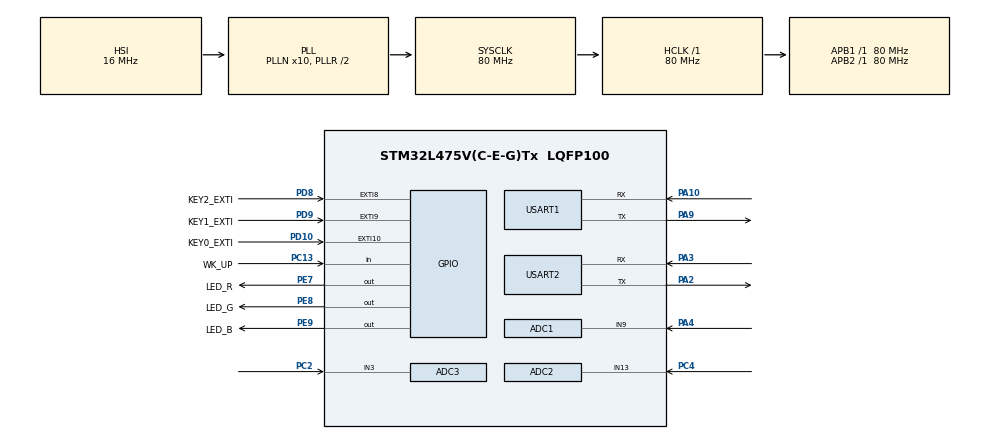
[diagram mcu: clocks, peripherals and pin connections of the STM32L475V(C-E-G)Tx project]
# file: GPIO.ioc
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ADC1.Channel-0\#ChannelRegularConversion=ADC_CHANNEL_9
ADC1.Channel-39\#ChannelRegularConversion=ADC_CHANNEL_9
ADC1.ClockPrescaler=ADC_CLOCK_ASYNC_DIV1
ADC1.ContinuousConvMode=DISABLE
ADC1.DMAContinuousRequests=DISABLE
ADC1.DataAlign=ADC_DATAALIGN_RIGHT
ADC1.DiscontinuousConvMode=DISABLE
ADC1.EOCSelection=ADC_EOC_SINGLE_CONV
ADC1.EnableAnalogWatchDog1=false
ADC1.EnableAnalogWatchDog2=false
ADC1.EnableAnalogWatchDog3=false
ADC1.EnableInjectedConversion=DISABLE
ADC1.EnableRegularConversion=ENABLE
ADC1.ExternalTrigConv=ADC_SOFTWARE_START
ADC1.ExternalTrigConvEdge=ADC_EXTERNALTRIGCONVEDGE_NONE
ADC1.LowPowerAutoWait=DISABLE
ADC1.NbrOfConversion=1
ADC1.NbrOfConversionFlag=1
ADC1.OffsetNumber-0\#ChannelRegularConversion=ADC_OFFSET_NONE
ADC1.OffsetNumber-39\#ChannelRegularConversion=ADC_OFFSET_NONE
ADC1.Overrun=ADC_OVR_DATA_PRESERVED
ADC1.OversamplingMode=DISABLE
ADC1.Rank-0\#ChannelRegularConversion=1
ADC1.Rank-39\#ChannelRegularConversion=1
ADC1.Resolution=ADC_RESOLUTION_12B
ADC1.SamplingTime-0\#ChannelRegularConversion=ADC_SAMPLETIME_2CYCLES_5
ADC1.SamplingTime-39\#ChannelRegularConversion=ADC_SAMPLETIME_2CYCLES_5
ADC1.ScanConvMode=ADC_SCAN_DISABLE
ADC1.master=1
ADC2.Channel-41\#ChannelRegularConversion=ADC_CHANNEL_13
ADC2.ClockPrescaler=ADC_CLOCK_ASYNC_DIV1
ADC2.ContinuousConvMode=DISABLE
ADC2.DMAContinuousRequests=DISABLE
ADC2.DataAlign=ADC_DATAALIGN_RIGHT
ADC2.DiscontinuousConvMode=DISABLE
ADC2.EOCSelection=ADC_EOC_SINGLE_CONV
ADC2.EnableAnalogWatchDog1=false
ADC2.EnableAnalogWatchDog2=false
ADC2.EnableAnalogWatchDog3=false
ADC2.EnableInjectedConversion=DISABLE
ADC2.EnableRegularConversion=ENABLE
ADC2.ExternalTrigConv=ADC_SOFTWARE_START
ADC2.ExternalTrigConvEdge=ADC_EXTERNALTRIGCONVEDGE_NONE
ADC2.LowPowerAutoWait=DISABLE
ADC2.NbrOfConversion=1
ADC2.NbrOfConversionFlag=1
ADC2.OffsetNumber-41\#ChannelRegularConversion=ADC_OFFSET_NONE
ADC2.Overrun=ADC_OVR_DATA_PRESERVED
ADC2.OversamplingMode=DISABLE
ADC2.Rank-41\#ChannelRegularConversion=1
ADC2.Resolution=ADC_RESOLUTION_12B
ADC2.SamplingTime-41\#ChannelRegularConversion=ADC_SAMPLETIME_2CYCLES_5
ADC2.ScanConvMode=ADC_SCAN_DISABLE
ADC3.Channel-42\#ChannelRegularConversion=ADC_CHANNEL_3
ADC3.ClockPrescaler=ADC_CLOCK_ASYNC_DIV1
ADC3.ContinuousConvMode=DISABLE
ADC3.DMAContinuousRequests=DISABLE
ADC3.DataAlign=ADC_DATAALIGN_RIGHT
ADC3.DiscontinuousConvMode=DISABLE
ADC3.EOCSelection=ADC_EOC_SINGLE_CONV
ADC3.EnableAnalogWatchDog1=false
ADC3.EnableAnalogWatchDog2=false
ADC3.EnableAnalogWatchDog3=false
ADC3.EnableInjectedConversion=DISABLE
ADC3.EnableRegularConversion=ENABLE
ADC3.ExternalTrigConv=ADC_SOFTWARE_START
ADC3.ExternalTrigConvEdge=ADC_EXTERNALTRIGCONVEDGE_NONE
ADC3.LowPowerAutoWait=DISABLE
ADC3.NbrOfConversion=1
ADC3.NbrOfConversionFlag=1
ADC3.OffsetNumber-42\#ChannelRegularConversion=ADC_OFFSET_NONE
ADC3.Overrun=ADC_OVR_DATA_PRESERVED
ADC3.OversamplingMode=DISABLE
ADC3.Rank-42\#ChannelRegularConversion=1
ADC3.Resolution=ADC_RESOLUTION_12B
ADC3.SamplingTime-42\#ChannelRegularConversion=ADC_SAMPLETIME_2CYCLES_5
ADC3.ScanConvMode=ADC_SCAN_DISABLE
Dma.Request0=USART1_RX
Dma.USART1_RX.0.Direction=DMA_PERIPH_TO_MEMORY
Dma.USART1_RX.0.Instance=DMA1_Channel5
Dma.USART1_RX.0.MemDataAlignment=DMA_MDATAALIGN_BYTE
Dma.USART1_RX.0.MemInc=DMA_MINC_ENABLE
Dma.USART1_RX.0.Mode=DMA_NORMAL
Dma.USART1_RX.0.PeriphDataAlignment=DMA_PDATAALIGN_BYTE
Dma.USART1_RX.0.PeriphInc=DMA_PINC_DISABLE
Dma.USART1_RX.0.Priority=DMA_PRIORITY_LOW
IWDG.Reload=4000
Mcu.Family=STM32L4
Mcu.Name=STM32L475V(C-E-G)Tx
Mcu.Package=LQFP100
NVIC.DMA1_Channel5_IRQn=true\:0\:0\:false\:false\:true\:false
NVIC.EXTI15_10_IRQn=true\:3\:0\:true\:false\:true\:true
NVIC.EXTI9_5_IRQn=true\:3\:0\:true\:false\:true\:true
NVIC.PriorityGroup=NVIC_PRIORITYGROUP_4
NVIC.USART1_IRQn=true\:2\:0\:true\:false\:true\:true
NVIC.USART2_IRQn=true\:1\:0\:true\:false\:true\:true
PA10.Mode=Asynchronous
PA10.Signal=USART1_RX
PA2.Mode=Asynchronous
PA2.Signal=USART2_TX
PA3.Mode=Asynchronous
PA3.Signal=USART2_RX
PA4.Signal=ADCx_IN9
PA9.Mode=Asynchronous
PA9.Signal=USART1_TX
PC13.GPIO_Label=WK_UP
PC13.Signal=GPIO_Input
PC2.Signal=ADCx_IN3
PC4.Signal=ADCx_IN13
PD10.GPIO_Label=KEY0_EXTI
PD10.Signal=GPXTI10
PD8.GPIO_Label=KEY2_EXTI
PD8.Signal=GPXTI8
PD9.GPIO_Label=KEY1_EXTI
PD9.Signal=GPXTI9
PE7.GPIO_Label=LED_R
PE7.Signal=GPIO_Output
PE8.GPIO_Label=LED_G
PE8.Signal=GPIO_Output
PE9.GPIO_Label=LED_B
PE9.Signal=GPIO_Output
PH0-OSC_IN\ (PH0).Mode=HSE-External-Oscillator
PH0-OSC_IN\ (PH0).Signal=RCC_OSC_IN
PH1-OSC_OUT\ (PH1).Mode=HSE-External-Oscillator
PH1-OSC_OUT\ (PH1).Signal=RCC_OSC_OUT
ProjectManager.HeapSize=0x200
ProjectManager.StackSize=0x400
ProjectManager.TargetToolchain=MDK-ARM V5
RCC.ADCCLockSelection=RCC_ADCCLKSOURCE_SYSCLK
RCC.ADCFreq_Value=80000000
RCC.AHBFreq_Value=80000000
RCC.APB1Freq_Value=80000000
RCC.APB1TimFreq_Value=80000000
RCC.APB2Freq_Value=80000000
RCC.APB2TimFreq_Value=80000000
RCC.CortexFreq_Value=80000000
RCC.HCLKFreq_Value=80000000
RCC.HSE_VALUE=8000000
RCC.HSI_VALUE=16000000
RCC.LSE_VALUE=32768
RCC.MSI_VALUE=4000000
RCC.PLLN=10
RCC.PLLSourceVirtual=RCC_PLLSOURCE_HSI
RCC.SYSCLKFreq_VALUE=80000000
RCC.SYSCLKSource=RCC_SYSCLKSOURCE_PLLCLK
RCC.USBFreq_Value=64000000
RCC.VCOOutputFreq_Value=160000000
SH.ADCx_IN13.0=ADC2_IN13,IN13-Single-Ended
SH.ADCx_IN3.0=ADC3_IN3,IN3-Single-Ended
SH.ADCx_IN9.0=ADC1_IN9,IN9-Single-Ended
USART1.VirtualMode-Asynchronous=VM_ASYNC
USART1.WordLength=WORDLENGTH_8B
USART2.DMADisableonRxErrorParam=ADVFEATURE_DMA_ENABLEONRXERROR
USART2.OverrunDisableParam=ADVFEATURE_OVERRUN_ENABLE
USART2.VirtualMode-Asynchronous=VM_ASYNC
USART2.WordLength=WORDLENGTH_8B
VP_IWDG_VS_IWDG.Mode=IWDG_Activate
VP_RTC_VS_RTC_Activate.Mode=RTC_Enabled
VP_RTC_VS_RTC_Calendar.Mode=RTC_Calendar
board=GPIO

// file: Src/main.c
/**
  ******************************************************************************
  * @file           : main.c
  * @brief          : Main program body
  ******************************************************************************
  ** This notice applies to any and all portions of this file
  * that are not between comment pairs USER CODE BEGIN and
  * USER CODE END. Other portions of this file, whether
  * inserted by the user or by software development tools
  * are owned by their respective copyright owners.
  *
  * COPYRIGHT(c) 2021 STMicroelectronics
  *
  * Redistribution and use in source and binary forms, with or without modification,
  * are permitted provided that the following conditions are met:
  *   1. Redistributions of source code must retain the above copyright notice,
  *      this list of conditions and the following disclaimer.
  *   2. Redistributions in binary form must reproduce the above copyright notice,
  *      this list of conditions and the following disclaimer in the documentation
  *      and/or other materials provided with the distribution.
  *   3. Neither the name of STMicroelectronics nor the names of its contributors
  *      may be used to endorse or promote products derived from this software
  *      without specific prior written permission.
  *
  * THIS SOFTWARE IS PROVIDED BY THE COPYRIGHT HOLDERS AND CONTRIBUTORS "AS IS"
  * AND ANY EXPRESS OR IMPLIED WARRANTIES, INCLUDING, BUT NOT LIMITED TO, THE
  * IMPLIED WARRANTIES OF MERCHANTABILITY AND FITNESS FOR A PARTICULAR PURPOSE ARE
  * DISCLAIMED. IN NO EVENT SHALL THE COPYRIGHT HOLDER OR CONTRIBUTORS BE LIABLE
  * FOR ANY DIRECT, INDIRECT, INCIDENTAL, SPECIAL, EXEMPLARY, OR CONSEQUENTIAL
  * DAMAGES (INCLUDING, BUT NOT LIMITED TO, PROCUREMENT OF SUBSTITUTE GOODS OR
  * SERVICES; LOSS OF USE, DATA, OR PROFITS; OR BUSINESS INTERRUPTION) HOWEVER
  * CAUSED AND ON ANY THEORY OF LIABILITY, WHETHER IN CONTRACT, STRICT LIABILITY,
  * OR TORT (INCLUDING NEGLIGENCE OR OTHERWISE) ARISING IN ANY WAY OUT OF THE USE
  * OF THIS SOFTWARE, EVEN IF ADVISED OF THE POSSIBILITY OF SUCH DAMAGE.
  *
  ******************************************************************************
  */
#include "main.h"
#include "stm32l4xx_hal.h"

/* USER CODE BEGIN Includes */
#include <stdio.h>
#include "Uart.h"
/* USER CODE END Includes */

ADC_HandleTypeDef hadc1;
ADC_HandleTypeDef hadc2;
ADC_HandleTypeDef hadc3;

IWDG_HandleTypeDef hiwdg;

RTC_HandleTypeDef hrtc;

UART_HandleTypeDef huart1;
UART_HandleTypeDef huart2;
DMA_HandleTypeDef hdma_usart1_rx;

/* USER CODE BEGIN PV */
/* Private variables ---------------------------------------------------------*/
unsigned char RX1_Buf[1024];
unsigned char RX2_Buf[1024];
unsigned char TestRxBuf[1024];
extern uint8_t USART1RECV[MAX_RCV_LEN];
extern uint8_t Buftemp;
extern uint16_t data_length;
/* USER CODE END PV */

void SystemClock_Config(void);
static void MX_GPIO_Init(void);
static void MX_DMA_Init(void);
static void MX_IWDG_Init(void);
static void MX_RTC_Init(void);
static void MX_ADC1_Init(void);
static void MX_ADC2_Init(void);
static void MX_ADC3_Init(void);

/* USER CODE BEGIN PFP */
/* Private function prototypes -----------------------------------------------*/
HAL_StatusTypeDef HAL_InitTick(uint32_t TickPriority);
void GPIOHandle(void);	//GIPO Input Output EXTI
void UARTHandle(void);	//UART TX RX DMA EXTI
void IWDTHandle(void);	//RCC IWDT systick
void SPIHandle(void);		//SPI SQFLASH
/* USER CODE END PFP */

/* USER CODE BEGIN 0 */
//UART1输出重定向 printf
#ifdef __GNUC__
#define PUTCHAR_PROTOTYPE int __io_putchar(int ch)
#else
#define PUTCHAR_PROTOTYPE int fputc(int ch, FILE *f)
#endif
PUTCHAR_PROTOTYPE
{
    //具体哪个串口可以更改huart1为其它串口
    HAL_UART_Transmit(&huart1 , (uint8_t *)&ch, 1 , 0xffff);
    return ch;
}
/* USER CODE END 0 */

int main(void)
{
  /* USER CODE BEGIN 1 */
	unsigned char TXBuf[100];
	int i;
	unsigned char data[MAX_RCV_LEN];
  /* USER CODE END 1 */

  /* MCU Configuration----------------------------------------------------------*/

  /* Reset of all peripherals, Initializes the Flash interface and the Systick. */
  HAL_Init();

  /* Configure the system clock */
  SystemClock_Config();

  /* Initialize all configured peripherals */
  MX_GPIO_Init();
  MX_DMA_Init();
  MX_USART2_UART_Init();
  MX_USART1_UART_Init();
  //MX_IWDG_Init();
  MX_RTC_Init();
  MX_ADC1_Init();
  MX_ADC2_Init();
  MX_ADC3_Init();
  /* USER CODE BEGIN 2 */
	//LED低电平亮 高电平灭
	LED_B_ON;
	LED_G_ON;
	LED_R_ON;
	for(i = 0;i<100;i++)
	{
		TXBuf[i] = 0x00;
		printf("%X",TXBuf[i]);
	}
	printf("\r\n");
	HAL_UART_Transmit(&huart2,"LD2001",6,1);
	HAL_UART_Transmit(&huart2,(unsigned char*)TXBuf,100,1);
  /* USER CODE END 2 */

  /* Infinite loop */
  while (1)
  {

  /* USER CODE BEGIN 3 */
		if(data_length>1)//数据接收完成
		{
			HAL_UART_Transmit(&huart2,RX1_Buf,data_length,0x200);
			data_length = 0;
			USART_Clear(&huart2);
		}
		//HAL_Delay(500);//500ms
		HAL_IWDG_Refresh(&hiwdg);
		GPIOHandle();
		/*
//		HAL_Delay(1000);
//		GetRcvData(&huart1 ,data, sizeof(data));
//		if(strlen(data))
//		{
//			printf("recv: %s \n",data);
//			//HAL_Delay(1000);
//		}
		*/
  }
  /* USER CODE END 3 */

}

void SystemClock_Config(void)
{

  RCC_OscInitTypeDef RCC_OscInitStruct;
  RCC_ClkInitTypeDef RCC_ClkInitStruct;
  RCC_PeriphCLKInitTypeDef PeriphClkInit;

    /**Initializes the CPU, AHB and APB busses clocks
    */
  RCC_OscInitStruct.OscillatorType = RCC_OSCILLATORTYPE_HSI|RCC_OSCILLATORTYPE_LSI;
  RCC_OscInitStruct.HSIState = RCC_HSI_ON;
  RCC_OscInitStruct.HSICalibrationValue = 16;
  RCC_OscInitStruct.LSIState = RCC_LSI_ON;
  RCC_OscInitStruct.PLL.PLLState = RCC_PLL_ON;
  RCC_OscInitStruct.PLL.PLLSource = RCC_PLLSOURCE_HSI;
  RCC_OscInitStruct.PLL.PLLN = 10;
  RCC_OscInitStruct.PLL.PLLP = RCC_PLLP_DIV7;
  RCC_OscInitStruct.PLL.PLLQ = RCC_PLLQ_DIV2;
  RCC_OscInitStruct.PLL.PLLR = RCC_PLLR_DIV2;
  if (HAL_RCC_OscConfig(&RCC_OscInitStruct) != HAL_OK)
  {
    _Error_Handler(__FILE__, __LINE__);
  }

    /**Initializes the CPU, AHB and APB busses clocks
    */
  RCC_ClkInitStruct.ClockType = RCC_CLOCKTYPE_HCLK|RCC_CLOCKTYPE_SYSCLK
                              |RCC_CLOCKTYPE_PCLK1|RCC_CLOCKTYPE_PCLK2;
  RCC_ClkInitStruct.SYSCLKSource = RCC_SYSCLKSOURCE_PLLCLK;
  RCC_ClkInitStruct.AHBCLKDivider = RCC_SYSCLK_DIV1;
  RCC_ClkInitStruct.APB1CLKDivider = RCC_HCLK_DIV1;
  RCC_ClkInitStruct.APB2CLKDivider = RCC_HCLK_DIV1;

  if (HAL_RCC_ClockConfig(&RCC_ClkInitStruct, FLASH_LATENCY_4) != HAL_OK)
  {
    _Error_Handler(__FILE__, __LINE__);
  }

  PeriphClkInit.PeriphClockSelection = RCC_PERIPHCLK_RTC|RCC_PERIPHCLK_USART1
                              |RCC_PERIPHCLK_USART2|RCC_PERIPHCLK_ADC;
  PeriphClkInit.Usart1ClockSelection = RCC_USART1CLKSOURCE_PCLK2;
  PeriphClkInit.Usart2ClockSelection = RCC_USART2CLKSOURCE_PCLK1;
  PeriphClkInit.AdcClockSelection = RCC_ADCCLKSOURCE_SYSCLK;
  PeriphClkInit.RTCClockSelection = RCC_RTCCLKSOURCE_LSI;
  if (HAL_RCCEx_PeriphCLKConfig(&PeriphClkInit) != HAL_OK)
  {
    _Error_Handler(__FILE__, __LINE__);
  }

    /**Configure the main internal regulator output voltage
    */
  if (HAL_PWREx_ControlVoltageScaling(PWR_REGULATOR_VOLTAGE_SCALE1) != HAL_OK)
  {
    _Error_Handler(__FILE__, __LINE__);
  }

    /**Configure the Systick interrupt time
    */
  HAL_SYSTICK_Config(HAL_RCC_GetHCLKFreq()/1000);

    /**Configure the Systick
    */
  HAL_SYSTICK_CLKSourceConfig(SYSTICK_CLKSOURCE_HCLK);

  /* SysTick_IRQn interrupt configuration */
  HAL_NVIC_SetPriority(SysTick_IRQn, 0, 0);
}

/* ADC1 init function */
static void MX_ADC1_Init(void)
{

  ADC_MultiModeTypeDef multimode;
  ADC_ChannelConfTypeDef sConfig;

    /**Common config
    */
  hadc1.Instance = ADC1;
  hadc1.Init.ClockPrescaler = ADC_CLOCK_ASYNC_DIV1;
  hadc1.Init.Resolution = ADC_RESOLUTION_12B;
  hadc1.Init.DataAlign = ADC_DATAALIGN_RIGHT;
  hadc1.Init.ScanConvMode = ADC_SCAN_DISABLE;
  hadc1.Init.EOCSelection = ADC_EOC_SINGLE_CONV;
  hadc1.Init.LowPowerAutoWait = DISABLE;
  hadc1.Init.ContinuousConvMode = DISABLE;
  hadc1.Init.NbrOfConversion = 1;
  hadc1.Init.DiscontinuousConvMode = DISABLE;
  hadc1.Init.NbrOfDiscConversion = 1;
  hadc1.Init.ExternalTrigConv = ADC_SOFTWARE_START;
  hadc1.Init.ExternalTrigConvEdge = ADC_EXTERNALTRIGCONVEDGE_NONE;
  hadc1.Init.DMAContinuousRequests = DISABLE;
  hadc1.Init.Overrun = ADC_OVR_DATA_PRESERVED;
  hadc1.Init.OversamplingMode = DISABLE;
  if (HAL_ADC_Init(&hadc1) != HAL_OK)
  {
    _Error_Handler(__FILE__, __LINE__);
  }

    /**Configure the ADC multi-mode
    */
  multimode.Mode = ADC_MODE_INDEPENDENT;
  if (HAL_ADCEx_MultiModeConfigChannel(&hadc1, &multimode) != HAL_OK)
  {
    _Error_Handler(__FILE__, __LINE__);
  }

    /**Configure Regular Channel
    */
  sConfig.Channel = ADC_CHANNEL_9;
  sConfig.Rank = ADC_REGULAR_RANK_1;
  sConfig.SamplingTime = ADC_SAMPLETIME_2CYCLES_5;
  sConfig.SingleDiff = ADC_SINGLE_ENDED;
  sConfig.OffsetNumber = ADC_OFFSET_NONE;
  sConfig.Offset = 0;
  if (HAL_ADC_ConfigChannel(&hadc1, &sConfig) != HAL_OK)
  {
    _Error_Handler(__FILE__, __LINE__);
  }

}

/* ADC2 init function */
static void MX_ADC2_Init(void)
{

  ADC_ChannelConfTypeDef sConfig;

    /**Common config
    */
  hadc2.Instance = ADC2;
  hadc2.Init.ClockPrescaler = ADC_CLOCK_ASYNC_DIV1;
  hadc2.Init.Resolution = ADC_RESOLUTION_12B;
  hadc2.Init.DataAlign = ADC_DATAALIGN_RIGHT;
  hadc2.Init.ScanConvMode = ADC_SCAN_DISABLE;
  hadc2.Init.EOCSelection = ADC_EOC_SINGLE_CONV;
  hadc2.Init.LowPowerAutoWait = DISABLE;
  hadc2.Init.ContinuousConvMode = DISABLE;
  hadc2.Init.NbrOfConversion = 1;
  hadc2.Init.DiscontinuousConvMode = DISABLE;
  hadc2.Init.NbrOfDiscConversion = 1;
  hadc2.Init.ExternalTrigConv = ADC_SOFTWARE_START;
  hadc2.Init.ExternalTrigConvEdge = ADC_EXTERNALTRIGCONVEDGE_NONE;
  hadc2.Init.DMAContinuousRequests = DISABLE;
  hadc2.Init.Overrun = ADC_OVR_DATA_PRESERVED;
  hadc2.Init.OversamplingMode = DISABLE;
  if (HAL_ADC_Init(&hadc2) != HAL_OK)
  {
    _Error_Handler(__FILE__, __LINE__);
  }

    /**Configure Regular Channel
    */
  sConfig.Channel = ADC_CHANNEL_13;
  sConfig.Rank = ADC_REGULAR_RANK_1;
  sConfig.SamplingTime = ADC_SAMPLETIME_2CYCLES_5;
  sConfig.SingleDiff = ADC_SINGLE_ENDED;
  sConfig.OffsetNumber = ADC_OFFSET_NONE;
  sConfig.Offset = 0;
  if (HAL_ADC_ConfigChannel(&hadc2, &sConfig) != HAL_OK)
  {
    _Error_Handler(__FILE__, __LINE__);
  }

}

/* ADC3 init function */
static void MX_ADC3_Init(void)
{

  ADC_ChannelConfTypeDef sConfig;

    /**Common config
    */
  hadc3.Instance = ADC3;
  hadc3.Init.ClockPrescaler = ADC_CLOCK_ASYNC_DIV1;
  hadc3.Init.Resolution = ADC_RESOLUTION_12B;
  hadc3.Init.DataAlign = ADC_DATAALIGN_RIGHT;
  hadc3.Init.ScanConvMode = ADC_SCAN_DISABLE;
  hadc3.Init.EOCSelection = ADC_EOC_SINGLE_CONV;
  hadc3.Init.LowPowerAutoWait = DISABLE;
  hadc3.Init.ContinuousConvMode = DISABLE;
  hadc3.Init.NbrOfConversion = 1;
  hadc3.Init.DiscontinuousConvMode = DISABLE;
  hadc3.Init.NbrOfDiscConversion = 1;
  hadc3.Init.ExternalTrigConv = ADC_SOFTWARE_START;
  hadc3.Init.ExternalTrigConvEdge = ADC_EXTERNALTRIGCONVEDGE_NONE;
  hadc3.Init.DMAContinuousRequests = DISABLE;
  hadc3.Init.Overrun = ADC_OVR_DATA_PRESERVED;
  hadc3.Init.OversamplingMode = DISABLE;
  if (HAL_ADC_Init(&hadc3) != HAL_OK)
  {
    _Error_Handler(__FILE__, __LINE__);
  }

    /**Configure Regular Channel
    */
  sConfig.Channel = ADC_CHANNEL_3;
  sConfig.Rank = ADC_REGULAR_RANK_1;
  sConfig.SamplingTime = ADC_SAMPLETIME_2CYCLES_5;
  sConfig.SingleDiff = ADC_SINGLE_ENDED;
  sConfig.OffsetNumber = ADC_OFFSET_NONE;
  sConfig.Offset = 0;
  if (HAL_ADC_ConfigChannel(&hadc3, &sConfig) != HAL_OK)
  {
    _Error_Handler(__FILE__, __LINE__);
  }

}

/* IWDG init function */
static void MX_IWDG_Init(void)
{

  hiwdg.Instance = IWDG;
  hiwdg.Init.Prescaler = IWDG_PRESCALER_4;
  hiwdg.Init.Window = 4095;
  hiwdg.Init.Reload = 4000;
  if (HAL_IWDG_Init(&hiwdg) != HAL_OK)
  {
    _Error_Handler(__FILE__, __LINE__);
  }

}

/* RTC init function */
static void MX_RTC_Init(void)
{

  RTC_TimeTypeDef sTime;
  RTC_DateTypeDef sDate;

    /**Initialize RTC Only
    */
  hrtc.Instance = RTC;
if(HAL_RTCEx_BKUPRead(&hrtc, RTC_BKP_DR0) != 0x32F2){
  hrtc.Init.HourFormat = RTC_HOURFORMAT_24;
  hrtc.Init.AsynchPrediv = 127;
  hrtc.Init.SynchPrediv = 255;
  hrtc.Init.OutPut = RTC_OUTPUT_DISABLE;
  hrtc.Init.OutPutRemap = RTC_OUTPUT_REMAP_NONE;
  hrtc.Init.OutPutPolarity = RTC_OUTPUT_POLARITY_HIGH;
  hrtc.Init.OutPutType = RTC_OUTPUT_TYPE_OPENDRAIN;
  if (HAL_RTC_Init(&hrtc) != HAL_OK)
  {
    _Error_Handler(__FILE__, __LINE__);
  }

    /**Initialize RTC and set the Time and Date
    */
  sTime.Hours = 0x0;
  sTime.Minutes = 0x0;
  sTime.Seconds = 0x0;
  sTime.DayLightSaving = RTC_DAYLIGHTSAVING_NONE;
  sTime.StoreOperation = RTC_STOREOPERATION_RESET;
  if (HAL_RTC_SetTime(&hrtc, &sTime, RTC_FORMAT_BCD) != HAL_OK)
  {
    _Error_Handler(__FILE__, __LINE__);
  }

  sDate.WeekDay = RTC_WEEKDAY_MONDAY;
  sDate.Month = RTC_MONTH_JANUARY;
  sDate.Date = 0x1;
  sDate.Year = 0x0;

  if (HAL_RTC_SetDate(&hrtc, &sDate, RTC_FORMAT_BCD) != HAL_OK)
  {
    _Error_Handler(__FILE__, __LINE__);
  }

    HAL_RTCEx_BKUPWrite(&hrtc,RTC_BKP_DR0,0x32F2);
  }

}

static void MX_DMA_Init(void)
{
  /* DMA controller clock enable */
  __HAL_RCC_DMA1_CLK_ENABLE();

  /* DMA interrupt init */
  /* DMA1_Channel5_IRQn interrupt configuration */
  HAL_NVIC_SetPriority(DMA1_Channel5_IRQn, 0, 0);
  HAL_NVIC_EnableIRQ(DMA1_Channel5_IRQn);

}
/** Configure pins as
        * Analog
        * Input
        * Output
        * EVENT_OUT
        * EXTI
*/
static void MX_GPIO_Init(void)
{

  GPIO_InitTypeDef GPIO_InitStruct;

  /* GPIO Ports Clock Enable */
  __HAL_RCC_GPIOC_CLK_ENABLE();
  __HAL_RCC_GPIOH_CLK_ENABLE();
  __HAL_RCC_GPIOA_CLK_ENABLE();
  __HAL_RCC_GPIOE_CLK_ENABLE();
  __HAL_RCC_GPIOD_CLK_ENABLE();

  /*Configure GPIO pin Output Level */
  HAL_GPIO_WritePin(GPIOE, LED_R_Pin|LED_G_Pin|LED_B_Pin, GPIO_PIN_RESET);

  /*Configure GPIO pin : WK_UP_Pin */
  GPIO_InitStruct.Pin = WK_UP_Pin;
  GPIO_InitStruct.Mode = GPIO_MODE_INPUT;
  GPIO_InitStruct.Pull = GPIO_NOPULL;
  HAL_GPIO_Init(WK_UP_GPIO_Port, &GPIO_InitStruct);

  /*Configure GPIO pins : LED_R_Pin LED_G_Pin LED_B_Pin */
  GPIO_InitStruct.Pin = LED_R_Pin|LED_G_Pin|LED_B_Pin;
  GPIO_InitStruct.Mode = GPIO_MODE_OUTPUT_PP;
  GPIO_InitStruct.Pull = GPIO_NOPULL;
  GPIO_InitStruct.Speed = GPIO_SPEED_FREQ_LOW;
  HAL_GPIO_Init(GPIOE, &GPIO_InitStruct);

  /*Configure GPIO pins : KEY2_EXTI_Pin KEY1_EXTI_Pin KEY0_EXTI_Pin */
  GPIO_InitStruct.Pin = KEY2_EXTI_Pin|KEY1_EXTI_Pin|KEY0_EXTI_Pin;
  GPIO_InitStruct.Mode = GPIO_MODE_IT_RISING;
  GPIO_InitStruct.Pull = GPIO_NOPULL;
  HAL_GPIO_Init(GPIOD, &GPIO_InitStruct);

  /* EXTI interrupt init*/
  HAL_NVIC_SetPriority(EXTI9_5_IRQn, 3, 0);
  HAL_NVIC_EnableIRQ(EXTI9_5_IRQn);

  HAL_NVIC_SetPriority(EXTI15_10_IRQn, 3, 0);
  HAL_NVIC_EnableIRQ(EXTI15_10_IRQn);

}

/* USER CODE BEGIN 4 */
/**************************************************************
//2020-12-22 19:03:56
GPIO 操作 输入输出、外部中断
RST
***************************************************************/
void GPIOHandle()
{
//	uint8_t Len;
//	Len = strlen(USART1RECV);
//	if(Key0State == 0) //输入电平监测
//	{
//		LED_B_ON;
//		LED_G_OFF;
//		LED_R_ON;
//		printf("%d\r\n",Len);
//	}
////	if(Key1State == 0)
////	{
////		LED_B_OFF;
////		LED_G_ON;
////		LED_R_OFF;
////	}
//	if(Key2State == 0)
//	{
//		LED_B_OFF;
//		LED_G_ON;
//		LED_R_ON;
//		if(Len != 0)
//		{
//			printf("Len %d\r\n",Len);
//			HAL_UART_Transmit(&huart2,(unsigned char*)USART1RECV,Len,1);
//			Len = 0;
//		}
//	}
}
/**************************************************************
//2020-12-22 19:07:26
UART 操作 串口中断  串口DMA模式
***************************************************************/
void UARTHandle()
{
	unsigned char RXBuf[1024];
	HAL_UART_Transmit(&huart2,(unsigned char*)"LD2001",10,1);
	HAL_UART_Receive(&huart2,(unsigned char *)RXBuf,10,1);
}
/**************************************************************

***************************************************************/
HAL_StatusTypeDef HAL_InitTick(uint32_t TickPriority)
{

}
/* USER CODE END 4 */

void _Error_Handler(char *file, int line)
{
  while(1)
  {
  }
}

/************************ (C) COPYRIGHT STMicroelectronics *****END OF FILE****/
